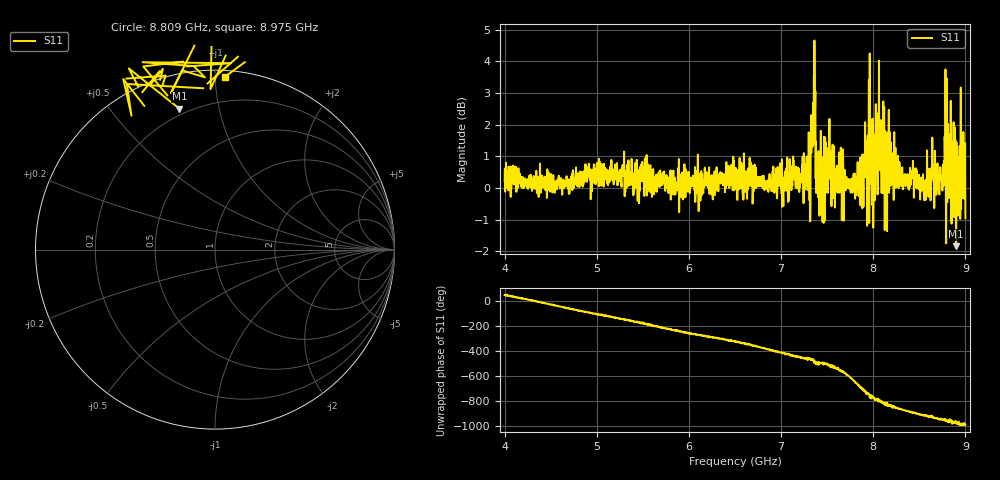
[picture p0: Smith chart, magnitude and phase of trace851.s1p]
! Created with skrf 1.8.0 (http://scikit-rf.org).
# Hz S RI R 50.0
!freq ReS11 ImS11
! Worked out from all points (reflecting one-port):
!   1601 points, 4 GHz to 9 GHz, reference 50 ohm
!   lowest |S11| = -1.8 dB at 8.9 GHz (marker M1), VSWR 9.51, Z = 8.39 + j38.3 ohm
!   phase of S11 starts at 50 deg and turns -1045 deg over the sweep
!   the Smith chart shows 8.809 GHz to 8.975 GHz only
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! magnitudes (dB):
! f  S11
! 4 GHz  0.2
! 4.625 GHz  -0.2
! 5.25 GHz  0.2
! 5.875 GHz  -0.1
! 6.5 GHz  0.2
! 7.038 GHz  0.2
! 7.125 GHz  0.5
! 7.294 GHz  -0.1
! 7.328 GHz  1.1
! 7.347 GHz  2.7
! 7.381 GHz  -0.2
! 7.4 GHz  0.0
! 7.438 GHz  -0.8
! 7.509 GHz  0.7
! 7.566 GHz  -0.3
! 7.75 GHz  0.0
! 7.878 GHz  1.0
! 7.962 GHz  4.2
! 8 GHz  -1.2
! 8.05 GHz  1.8
! 8.197 GHz  0.6
! 8.375 GHz  0.3
! 8.725 GHz  0.3
! 8.8 GHz  1.5
! 8.838 GHz  0.1
! 8.9 GHz  -1.8
! 8.972 GHz  0.5
! 9 GHz  -1.0
